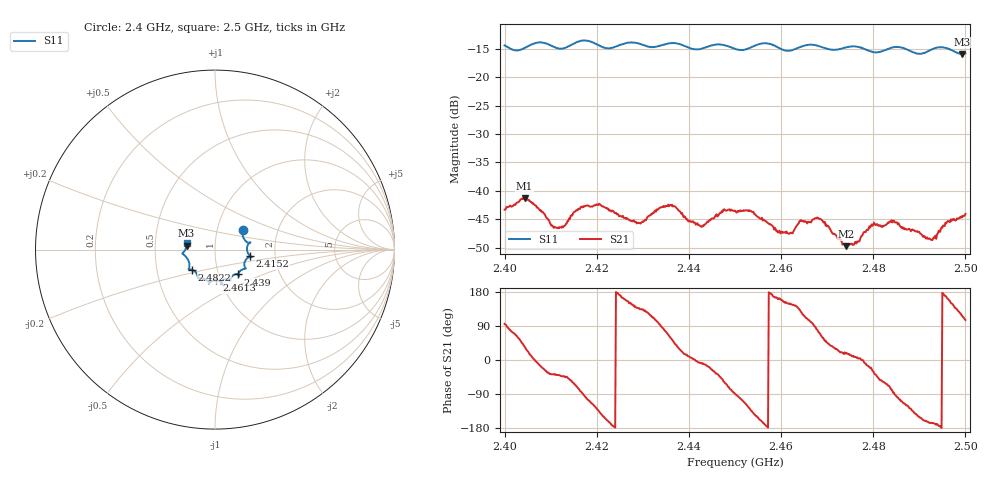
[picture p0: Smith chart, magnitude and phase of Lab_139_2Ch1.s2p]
# Hz S RI R 50
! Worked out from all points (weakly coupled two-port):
!   601 points, 2.4 GHz to 2.5 GHz, reference 50 ohm
!   highest |S21| = -41.28 dB at 2.4043 GHz (marker M1); lowest = -49.7 dB at 2.4742 GHz (marker M2)
!   lowest |S11| = -15.9 dB at 2.4993 GHz (marker M3), VSWR 1.38, Z = 36.3 + j1.63 ohm
!   |S11| at or under -10 dB: start of sweep to end of sweep
!   S12 and S22 are empty: the file has one direction only
!   S11 on the Smith chart (normalised r, x): 2.4 GHz: 1.33, +0.30; 2.4152 GHz: 1.48, -0.11; 2.439 GHz: 1.24, -0.35; 2.4613 GHz: 0.96, -0.34; 2.4822 GHz: 0.76, -0.17; 2.5 GHz: 0.73, +0.05
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2.4e9  0.1548 0.1106  -0.000619 0.00679  0 0  0 0
2.404333e9  0.1747 0.0447  0.00702 0.00502  0 0  0 0
2.411e9  0.1809 0.0214  0.0037 -0.00302  0 0  0 0
2.415167e9  0.1954 -0.0363  0.00282 -0.0059  0 0  0 0
2.416667e9  0.205 -0.0423  0.00071 -0.00721  0 0  0 0
2.4205e9  0.1843 -0.0451  -0.00551 -0.00539  0 0  0 0
2.429167e9  0.1663 -0.1063  -0.00381 0.00356  0 0  0 0
2.433333e9  0.1318 -0.1328  -0.00105 0.0068  0 0  0 0
2.4365e9  0.1345 -0.1471  0.00453 0.00568  0 0  0 0
2.439e9  0.1277 -0.1384  0.00574 0.00161  0 0  0 0
2.442833e9  0.0917 -0.1524  0.00475 -0.000794  0 0  0 0
2.45e9  0.0684 -0.1635  0.000115 -0.0067  0 0  0 0
2.4535e9  0.0359 -0.1793  -0.00457 -0.00476  0 0  0 0
2.461333e9  0.00749 -0.1703  -0.00368 0.00215  0 0  0 0
2.466667e9  -0.0331 -0.19  -0.000797 0.00539  0 0  0 0
2.4685e9  -0.0338 -0.1828  0.00206 0.00526  0 0  0 0
2.474167e9  -0.0873 -0.1609  0.00308 0.00104  0 0  0 0
2.482167e9  -0.1282 -0.112  0.00265 -0.00413  0 0  0 0
2.483333e9  -0.1395 -0.1105  0.00197 -0.00481  0 0  0 0
2.4925e9  -0.1708 -0.0311  -0.00359 -0.000932  0 0  0 0
2.499333e9  -0.1586 0.0219  -0.00261 0.00523  0 0  0 0
2.5e9  -0.1579 0.0341  -0.00169 0.00602  0 0  0 0
